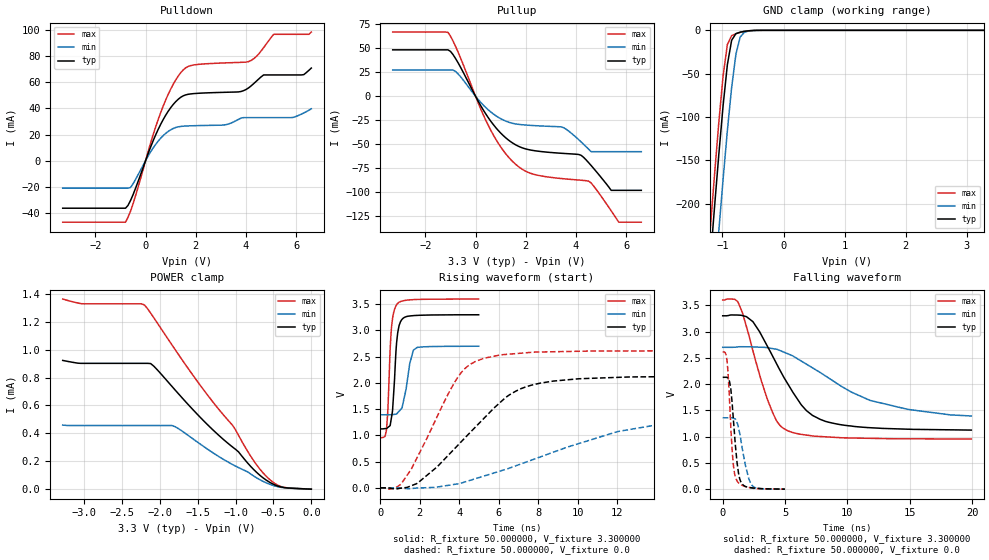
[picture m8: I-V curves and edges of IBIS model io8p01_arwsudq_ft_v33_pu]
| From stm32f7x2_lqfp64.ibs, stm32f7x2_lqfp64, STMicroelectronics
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|   Model io8p01_arwsudq_ft_v33_pu
[Model]  io8p01_arwsudq_ft_v33_pu
Model_type I/O
Polarity   Non-Inverting
Enable   Active-Low
Vinl =   0.990000V
Vinh =   2.310000V
Vmeas =  1.650000V
Cref =   50.000000pF
Rref =   100.000000M
Vref =   0.0V
C_comp   2.911600pF   2.826700pF   2.983100pF
[Temperature Range]   25.000000   0.125000k   -40.000000
[Pullup Reference]   3.300000V   2.700000V   3.600000V
[Pulldown Reference]   0.0V   0.0V   0.0V
[POWER Clamp Reference]   3.300000V   2.700000V   3.600000V
[GND Clamp Reference]   0.0V   0.0V   0.0V
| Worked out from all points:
|   slope of the pulldown table from 0 to 0.495 V, typ, clamps not added: 20.9 ohm
|   slope of the pullup table from 0 to 0.495 V, typ, clamps not added: 22.6 ohm
|   GND clamp passes 1 mA (typ) near -0.62 V on its own axis
|   rising waveform, R_fixture 50.000000, V_fixture 3.300000: 20-80 % time 219ps typ, 367ps min, 188ps max; typ from 1.12 V to 3.3 V
|   rising waveform, R_fixture 50.000000, V_fixture 0.0: 20-80 % time 3.35ns typ, 6.59ns min, 2.1ns max; typ from 0.001 V to 2.13 V
|   falling waveform, R_fixture 50.000000, V_fixture 3.300000: 20-80 % time 3.22ns typ, 6.15ns min, 2.03ns max; typ from 3.3 V to 1.12 V
|   falling waveform, R_fixture 50.000000, V_fixture 0.0: 20-80 % time 464ps typ, 672ps min, 373ps max; typ from 2.13 V to 0.001 V
[Pulldown]
|Voltage   I(typ)   I(min)   I(max)
-3.3V     -36.38mA   -21.07mA   -47.09mA
-800mV    -36.38mA   -21.07mA   -47.09mA
-600mV    -30.5mA    -20.54mA   -38.69mA
700mV     31.4mA     19.11mA    41.71mA
1.2V      45.15mA    25.37mA    61.75mA
1.6V      50.35mA    26.5mA     71.06mA
3.1V      52.28mA    27.26mA    74.76mA
4.1V      55.65mA    32.94mA    75.79mA
4.7V      65.59mA    32.94mA    86.49mA
5.1V      65.59mA    32.94mA    96.67mA
6.3V      65.82mA    36.48mA    96.67mA
6.6V      70.87mA    39.69mA    98.38mA
[Pullup]
|Voltage   I(typ)   I(min)   I(max)
-3.3V     48.41mA    27.39mA    66.93mA
-1.1V     48.41mA    27.39mA    66.7mA
-700mV    35.09mA    23.45mA    46.27mA
500mV     -22.06mA   -14mA      -30.03mA
1.5V      -49.1mA    -28.3mA    -68.56mA
2.2V      -56.04mA   -30.32mA   -80.35mA
3.5V      -59.52mA   -32.65mA   -85.91mA
4.2V      -61.45mA   -47.47mA   -87.45mA
4.5V      -69.09mA   -55.01mA   -88.4mA
5.4V      -98mA      -57.7mA    -119.3mA
5.7V      -98mA      -57.7mA    -131.2mA
6.6V      -98mA      -57.7mA    -131.2mA
[GND_clamp]
|Voltage   I(typ)   I(min)   I(max)
-3.3V     -2.32A     -2.397A    -2.297A
-1.2V     -266.4mA   -356.3mA   -229.4mA
-1.13V    -203.6mA   -293.1mA   -166.3mA
-1.06V    -143.2mA   -231.4mA   -106.2mA
-990mV    -86.95mA   -171.8mA   -52.65mA
-920mV    -39.66mA   -115.8mA   -16.36mA
-850mV    -11.49mA   -65.84mA   -6.11mA
-780mV    -3.834mA   -27.59mA   -3.88mA
-710mV    -2.09mA    -7.753mA   -2.381mA
-640mV    -1.147mA   -2.129mA   -1.22mA
-570mV    -523.9uA   -800uA     -476.8uA
3.28V     0A         0A         0A
[POWER_clamp]
|Voltage   I(typ)   I(min)   I(max)
-3.28V    922.4uA    459.4uA    1.362mA
-3.04V    901.4uA    455.8uA    1.329mA
-2.2V     901.4uA    455.8uA    1.319mA
-2.08V    882.2uA    455.8uA    1.23mA
-1.8V     712.4uA    448.4uA    1.003mA
-1.4V     478.6uA    298uA      696.5uA
-1.04V    302.3uA    176.6uA    458.6uA
-800mV    163uA      108.7uA    236.3uA
-640mV    82.53uA    56.82uA    118.4uA
-520mV    40.35uA    29.6uA     55.89uA
-400mV    15.52uA    13.26uA    18.69uA
0V        0A         0A         0A
[Ramp]
| variable   typ   min   max
dV/dt_r  1.27741/3.34507n   0.80115/6.62068n   1.56664/2.09795n
dV/dt_f  1.30182/3.21657n   0.74286/6.19261n   1.58713/2.03064n
R_load = 50.000000
[Rising Waveform]
R_fixture= 50.000000
V_fixture= 3.300000
V_fixture_min= 2.700000
V_fixture_max= 3.600000
|time   V(typ)   V(min)   V(max)
0s        1.125V     1.393V     955.5mV
320.3ps   1.134V     1.393V     1.124V
390.4ps   1.154V     1.393V     1.532V
500.5ps   1.189V     1.393V     2.647V
620.6ps   1.468V     1.398V     3.224V
850.9ps   2.849V     1.419V     3.502V
1.101ns   3.212V     1.523V     3.561V
1.491ns   3.276V     2.367V     3.584V
1.682ns   3.283V     2.628V     3.588V
4.985ns   3.3V       2.7V       3.599V
[Rising Waveform]
R_fixture= 50.000000
V_fixture= 0.0
V_fixture_min= 0.0
V_fixture_max= 0.0
|time   V(typ)   V(min)   V(max)
0s        1.287mV    1.127mV    1.858mV
1.041ns   -5.54mV    -3.433mV   67.7mV
1.882ns   89.34mV    -1.2mV     588.3mV
3.924ns   810.4mV    77.03mV    2.107V
5.205ns   1.308V     220.3mV    2.464V
6.847ns   1.84V      418.7mV    2.559V
8.769ns   2.036V     681.1mV    2.595V
12.01ns   2.106V     1.072V     2.611V
14.81ns   2.121V     1.253V     2.612V
19.94ns   2.129V     1.36V      2.612V
[Falling Waveform]
R_fixture= 50.000000
V_fixture= 3.300000
V_fixture_min= 2.700000
V_fixture_max= 3.600000
|time   V(typ)   V(min)   V(max)
0s        3.3V       2.7V       3.599V
1.241ns   3.313V     2.709V     3.552V
2.402ns   3.192V     2.708V     2.653V
3.564ns   2.729V     2.692V     1.722V
4.324ns   2.386V     2.663V     1.301V
5.045ns   2.073V     2.594V     1.132V
6.727ns   1.493V     2.378V     1.03V
8.448ns   1.278V     2.123V     994.3mV
11.81ns   1.171V     1.69V      968.2mV
19.94ns   1.125V     1.393V     955.5mV
[Falling Waveform]
R_fixture= 50.000000
V_fixture= 0.0
V_fixture_min= 0.0
V_fixture_max= 0.0
|time   V(typ)   V(min)   V(max)
0s        2.129V     1.36V      2.612V
340.3ps   2.126V     1.359V     2.462V
550.6ps   2.047V     1.359V     1.676V
680.7ps   1.833V     1.359V     1.043V
840.8ps   1.375V     1.351V     494.6mV
1.101ns   627.5mV    1.291V     183.1mV
1.461ns   138.2mV    930.3mV    87.12mV
1.832ns   51.96mV    443.1mV    47.68mV
2.362ns   25.71mV    69.48mV    21.16mV
4.985ns   1.287mV    1.127mV    1.858mV
